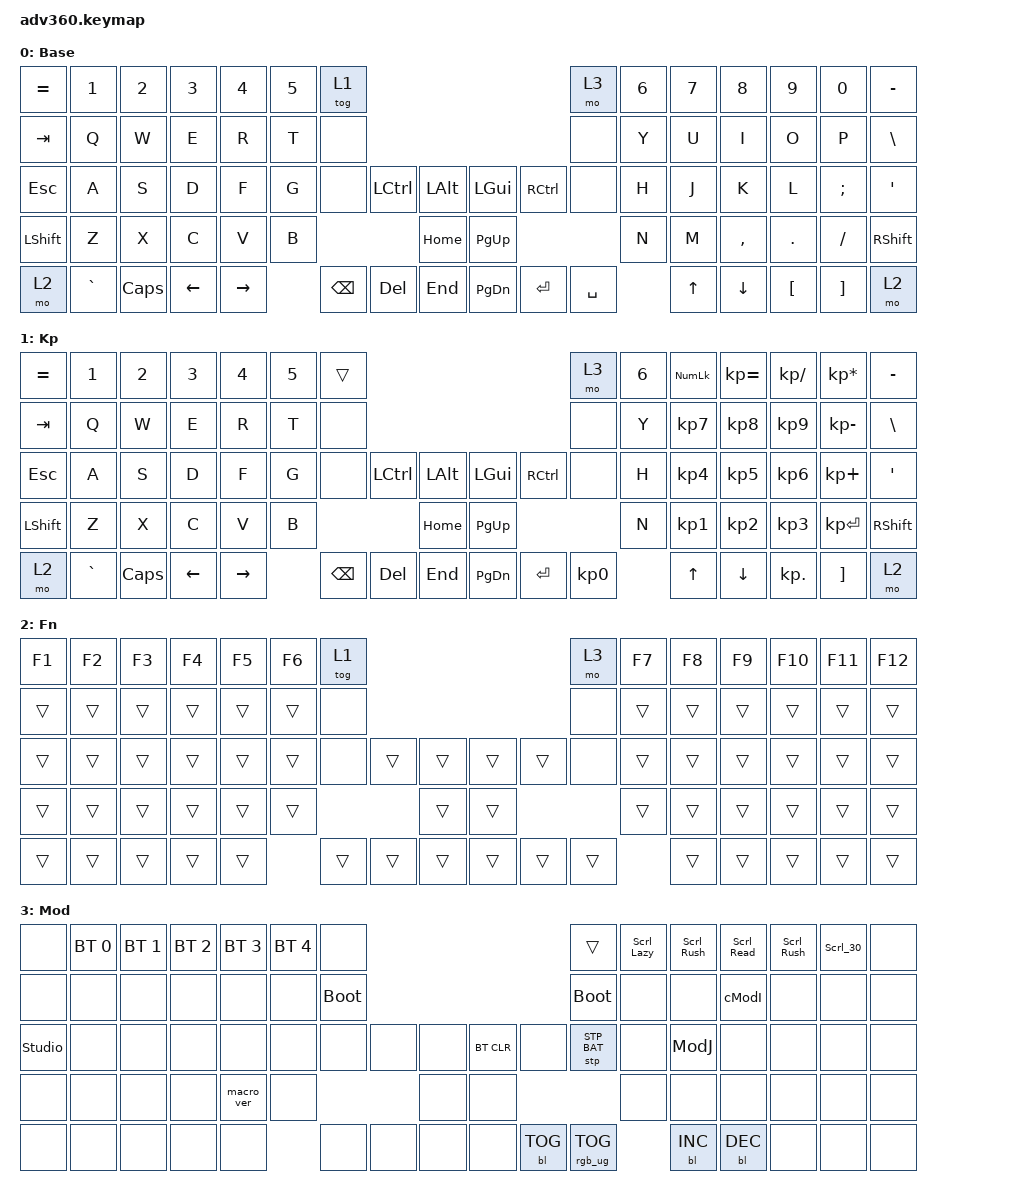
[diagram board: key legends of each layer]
#include <dt-bindings/zmk/stp.h>
#include <behaviors.dtsi>
#include <dt-bindings/zmk/backlight.h>
#include <dt-bindings/zmk/bt.h>
#include <dt-bindings/zmk/keys.h>
#include <dt-bindings/zmk/rgb.h>

/ {
    behaviors {
        #include "macros.dtsi"
      #include "version.dtsi"

        hm: homerow_mods {
            compatible = "zmk,behavior-hold-tap";
            label = "HOMEROW_MODS";
            #binding-cells = <2>;
            tapping-term-ms = <200>;
            quick_tap_ms = <175>;
            flavor = "tap-preferred";
            bindings = <&kp>, <&kp>;
        };
    };

    macros {
        cModI: ModI {
            compatible = "zmk,behavior-macro";
            #binding-cells = <0>;
            wait-ms = <40>;
            tap-ms = <40>;
            bindings =
                <&kp I &kp M &kp P &kp O &kp R &kp T &kp SPACE>,
                <&macro_wait_time 800>,
                <&kp TAB>,
                <&macro_wait_time 1200>,
                <&kp ENTER>,
                <&macro_wait_time 950>,
                <&kp ENTER>,
                <&macro_wait_time 1500>,
                <&kp D &kp E &kp F &kp SPACE>,
                <&macro_wait_time 743>,
                <&kp TAB>,
                <&macro_wait_time 891>,
                <&kp ENTER>,
                <&macro_wait_time 1100>,
                <&kp R &kp E &kp T &kp U &kp R &kp N &kp SPACE>,
                <&macro_wait_time 654>,
                <&kp LS(F) &kp A &kp L &kp S &kp E>,
                <&macro_wait_time 2000>,
                <&kp LC(TAB)>,
                <&macro_wait_time 1300>,
                <&kp DOWN>,
                <&macro_wait_time 1200>,
                <&kp DOWN>,
                <&macro_wait_time 876>,
                <&kp UP>,
                <&macro_wait_time 1543>,
                <&kp DOWN>,
                <&macro_wait_time 934>,
                <&kp LC(DOWN)>,
                <&macro_wait_time 1876>,
                <&kp UP>;
        };

        ModJ: ModJ {
            compatible = "zmk,behavior-macro";
            #binding-cells = <0>;
            wait-ms = <40>;
            tap-ms = <40>;
            bindings = <&kp I &kp M &kp P &kp O &kp R &kp T &kp LS(F) &kp A &kp L &kp S &kp E>;
            label = "MODJ";
        };

        /* Lazy drift - slow, mostly down, rare corrections. 30 keys, ~1.1 min */

        Scrl_Lazy: Scrl_Lazy {
            compatible = "zmk,behavior-macro";
            #binding-cells = <0>;
            bindings =
                <&macro_tap_time 38>,
                <&kp DOWN>,
                <&macro_wait_time 1876>,
                <&macro_tap_time 51>,
                <&kp DOWN>,
                <&macro_wait_time 2134>,
                <&macro_tap_time 29>,
                <&kp DOWN>,
                <&macro_wait_time 1654>,
                <&macro_tap_time 44>,
                <&kp DOWN>,
                <&macro_wait_time 2876>,
                <&macro_tap_time 33>,
                <&kp UP>,
                <&macro_wait_time 1432>,
                <&macro_tap_time 57>,
                <&kp DOWN>,
                <&macro_wait_time 2341>,
                <&macro_tap_time 31>,
                <&kp DOWN>,
                <&macro_wait_time 1987>,
                <&macro_tap_time 46>,
                <&kp DOWN>,
                <&macro_wait_time 2654>,
                <&macro_tap_time 62>,
                <&kp DOWN>,
                <&macro_wait_time 1543>,
                <&macro_tap_time 28>,
                <&kp DOWN>,
                <&macro_wait_time 3102>,
                <&macro_tap_time 53>,
                <&kp DOWN>,
                <&macro_wait_time 2213>,
                <&macro_tap_time 41>,
                <&kp UP>,
                <&macro_wait_time 1765>,
                <&macro_tap_time 36>,
                <&kp DOWN>,
                <&macro_wait_time 2098>,
                <&macro_tap_time 49>,
                <&kp DOWN>,
                <&macro_wait_time 1432>,
                <&macro_tap_time 27>,
                <&kp DOWN>,
                <&macro_wait_time 2987>,
                <&macro_tap_time 58>,
                <&kp DOWN>,
                <&macro_wait_time 1876>,
                <&macro_tap_time 43>,
                <&kp DOWN>,
                <&macro_wait_time 2543>,
                <&macro_tap_time 35>,
                <&kp UP>,
                <&macro_wait_time 1234>,
                <&macro_tap_time 61>,
                <&kp DOWN>,
                <&macro_wait_time 3211>,
                <&macro_tap_time 30>,
                <&kp DOWN>,
                <&macro_wait_time 1654>,
                <&macro_tap_time 48>,
                <&kp DOWN>,
                <&macro_wait_time 2109>,
                <&macro_tap_time 55>,
                <&kp DOWN>,
                <&macro_wait_time 1987>,
                <&macro_tap_time 32>,
                <&kp DOWN>,
                <&macro_wait_time 2765>,
                <&macro_tap_time 47>,
                <&kp UP>,
                <&macro_wait_time 1543>,
                <&macro_tap_time 39>,
                <&kp DOWN>,
                <&macro_wait_time 2432>,
                <&macro_tap_time 63>,
                <&kp DOWN>,
                <&macro_wait_time 1876>,
                <&macro_tap_time 26>,
                <&kp DOWN>,
                <&macro_wait_time 3087>,
                <&macro_tap_time 52>,
                <&kp DOWN>,
                <&macro_wait_time 2213>,
                <&macro_tap_time 37>,
                <&kp DOWN>,
                <&macro_wait_time 1765>,
                <&macro_tap_time 44>,
                <&kp UP>,
                <&macro_wait_time 2098>;
        };

        /* Rush - fast impatient bursts, long pauses. 30 keys, ~0.5 min */

        Scrl_Rush: Scrl_Rush {
            compatible = "zmk,behavior-macro";
            #binding-cells = <0>;
            bindings =
                <&macro_tap_time 43>,
                <&kp DOWN>,
                <&macro_wait_time 387>,
                <&macro_tap_time 31>,
                <&kp DOWN>,
                <&macro_wait_time 412>,
                <&macro_tap_time 56>,
                <&kp DOWN>,
                <&macro_wait_time 356>,
                <&macro_tap_time 28>,
                <&kp DOWN>,
                <&macro_wait_time 443>,
                <&macro_tap_time 47>,
                <&kp DOWN>,
                <&macro_wait_time 2876>,
                <&macro_tap_time 39>,
                <&kp UP>,
                <&macro_wait_time 534>,
                <&macro_tap_time 62>,
                <&kp DOWN>,
                <&macro_wait_time 398>,
                <&macro_tap_time 34>,
                <&kp DOWN>,
                <&macro_wait_time 421>,
                <&macro_tap_time 51>,
                <&kp DOWN>,
                <&macro_wait_time 367>,
                <&macro_tap_time 29>,
                <&kp DOWN>,
                <&macro_wait_time 3241>,
                <&macro_tap_time 58>,
                <&kp DOWN>,
                <&macro_wait_time 445>,
                <&macro_tap_time 41>,
                <&kp DOWN>,
                <&macro_wait_time 378>,
                <&macro_tap_time 27>,
                <&kp DOWN>,
                <&macro_wait_time 412>,
                <&macro_tap_time 53>,
                <&kp UP>,
                <&macro_wait_time 489>,
                <&macro_tap_time 36>,
                <&kp DOWN>,
                <&macro_wait_time 2654>,
                <&macro_tap_time 49>,
                <&kp DOWN>,
                <&macro_wait_time 356>,
                <&macro_tap_time 32>,
                <&kp DOWN>,
                <&macro_wait_time 423>,
                <&macro_tap_time 61>,
                <&kp DOWN>,
                <&macro_wait_time 398>,
                <&macro_tap_time 38>,
                <&kp DOWN>,
                <&macro_wait_time 3109>,
                <&macro_tap_time 44>,
                <&kp DOWN>,
                <&macro_wait_time 445>,
                <&macro_tap_time 57>,
                <&kp UP>,
                <&macro_wait_time 512>,
                <&macro_tap_time 30>,
                <&kp DOWN>,
                <&macro_wait_time 378>,
                <&macro_tap_time 46>,
                <&kp DOWN>,
                <&macro_wait_time 421>,
                <&macro_tap_time 63>,
                <&kp DOWN>,
                <&macro_wait_time 2987>,
                <&macro_tap_time 35>,
                <&kp DOWN>,
                <&macro_wait_time 356>,
                <&macro_tap_time 52>,
                <&kp DOWN>,
                <&macro_wait_time 412>,
                <&macro_tap_time 28>,
                <&kp DOWN>,
                <&macro_wait_time 443>,
                <&macro_tap_time 45>,
                <&kp UP>,
                <&macro_wait_time 398>,
                <&macro_tap_time 59>,
                <&kp DOWN>,
                <&macro_wait_time 3432>,
                <&macro_tap_time 33>,
                <&kp DOWN>,
                <&macro_wait_time 367>;
        };

        /* Reader - steady reading cadence, frequent corrections. 30 keys, ~0.5 min */

        Scrl_Read: Scrl_Read {
            compatible = "zmk,behavior-macro";
            #binding-cells = <0>;
            bindings =
                <&macro_tap_time 45>,
                <&kp DOWN>,
                <&macro_wait_time 987>,
                <&macro_tap_time 32>,
                <&kp DOWN>,
                <&macro_wait_time 1123>,
                <&macro_tap_time 58>,
                <&kp DOWN>,
                <&macro_wait_time 876>,
                <&macro_tap_time 41>,
                <&kp UP>,
                <&macro_wait_time 654>,
                <&macro_tap_time 27>,
                <&kp DOWN>,
                <&macro_wait_time 1098>,
                <&macro_tap_time 53>,
                <&kp DOWN>,
                <&macro_wait_time 934>,
                <&macro_tap_time 36>,
                <&kp DOWN>,
                <&macro_wait_time 1187>,
                <&macro_tap_time 61>,
                <&kp UP>,
                <&macro_wait_time 712>,
                <&macro_tap_time 29>,
                <&kp DOWN>,
                <&macro_wait_time 1043>,
                <&macro_tap_time 48>,
                <&kp DOWN>,
                <&macro_wait_time 876>,
                <&macro_tap_time 39>,
                <&kp DOWN>,
                <&macro_wait_time 1234>,
                <&macro_tap_time 55>,
                <&kp UP>,
                <&macro_wait_time 598>,
                <&macro_tap_time 31>,
                <&kp DOWN>,
                <&macro_wait_time 965>,
                <&macro_tap_time 44>,
                <&kp DOWN>,
                <&macro_wait_time 1109>,
                <&macro_tap_time 62>,
                <&kp DOWN>,
                <&macro_wait_time 843>,
                <&macro_tap_time 28>,
                <&kp UP>,
                <&macro_wait_time 734>,
                <&macro_tap_time 51>,
                <&kp DOWN>,
                <&macro_wait_time 1076>,
                <&macro_tap_time 37>,
                <&kp DOWN>,
                <&macro_wait_time 912>,
                <&macro_tap_time 46>,
                <&kp DOWN>,
                <&macro_wait_time 1198>,
                <&macro_tap_time 33>,
                <&kp UP>,
                <&macro_wait_time 621>,
                <&macro_tap_time 57>,
                <&kp DOWN>,
                <&macro_wait_time 1034>,
                <&macro_tap_time 26>,
                <&kp DOWN>,
                <&macro_wait_time 887>,
                <&macro_tap_time 43>,
                <&kp DOWN>,
                <&macro_wait_time 1143>,
                <&macro_tap_time 59>,
                <&kp UP>,
                <&macro_wait_time 698>,
                <&macro_tap_time 34>,
                <&kp DOWN>,
                <&macro_wait_time 976>,
                <&macro_tap_time 50>,
                <&kp DOWN>,
                <&macro_wait_time 1087>,
                <&macro_tap_time 38>,
                <&kp DOWN>,
                <&macro_wait_time 854>,
                <&macro_tap_time 47>,
                <&kp UP>,
                <&macro_wait_time 743>,
                <&macro_tap_time 30>,
                <&kp DOWN>,
                <&macro_wait_time 1012>,
                <&macro_tap_time 56>,
                <&kp DOWN>,
                <&macro_wait_time 934>;
        };

        /* Drift - distracted, very long pauses, erratic. 20 keys, ~1.4 min */

        Scrl_Drift: Scrl_Drift {
            compatible = "zmk,behavior-macro";
            #binding-cells = <0>;
            bindings =
                <&macro_tap_time 42>,
                <&kp DOWN>,
                <&macro_wait_time 4321>,
                <&macro_tap_time 31>,
                <&kp DOWN>,
                <&macro_wait_time 3876>,
                <&macro_tap_time 57>,
                <&kp UP>,
                <&macro_wait_time 5102>,
                <&macro_tap_time 28>,
                <&kp DOWN>,
                <&macro_wait_time 4654>,
                <&macro_tap_time 46>,
                <&kp DOWN>,
                <&macro_wait_time 3219>,
                <&macro_tap_time 61>,
                <&kp DOWN>,
                <&macro_wait_time 4987>,
                <&macro_tap_time 35>,
                <&kp UP>,
                <&macro_wait_time 3543>,
                <&macro_tap_time 52>,
                <&kp UP>,
                <&macro_wait_time 4876>,
                <&macro_tap_time 29>,
                <&kp DOWN>,
                <&macro_wait_time 3210>,
                <&macro_tap_time 44>,
                <&kp DOWN>,
                <&macro_wait_time 5234>,
                <&macro_tap_time 58>,
                <&kp DOWN>,
                <&macro_wait_time 4109>,
                <&macro_tap_time 33>,
                <&kp UP>,
                <&macro_wait_time 3765>,
                <&macro_tap_time 47>,
                <&kp DOWN>,
                <&macro_wait_time 4432>,
                <&macro_tap_time 26>,
                <&kp DOWN>,
                <&macro_wait_time 3987>,
                <&macro_tap_time 53>,
                <&kp DOWN>,
                <&macro_wait_time 5321>,
                <&macro_tap_time 39>,
                <&kp UP>,
                <&macro_wait_time 4123>,
                <&macro_tap_time 62>,
                <&kp DOWN>,
                <&macro_wait_time 3654>,
                <&macro_tap_time 34>,
                <&kp UP>,
                <&macro_wait_time 4876>,
                <&macro_tap_time 48>,
                <&kp DOWN>,
                <&macro_wait_time 3431>,
                <&macro_tap_time 27>,
                <&kp DOWN>,
                <&macro_wait_time 5109>;
        };

        /* 30 min session - 9 randomized cycles, ~31 min total */

        Scrl_30: Scrl_30 {
            compatible = "zmk,behavior-macro";
            #binding-cells = <0>;
            bindings =
                <&Scrl_Drift>, <&Scrl_Read>,  <&Scrl_Lazy>, <&Scrl_Rush>,
                <&Scrl_Read>,  <&Scrl_Lazy>,  <&Scrl_Drift>, <&Scrl_Rush>,
                <&Scrl_Rush>,  <&Scrl_Drift>, <&Scrl_Read>,  <&Scrl_Lazy>,
                <&Scrl_Lazy>,  <&Scrl_Read>,  <&Scrl_Rush>,  <&Scrl_Drift>,
                <&Scrl_Drift>, <&Scrl_Rush>,  <&Scrl_Lazy>,  <&Scrl_Read>,
                <&Scrl_Read>,  <&Scrl_Drift>, <&Scrl_Rush>,  <&Scrl_Lazy>,
                <&Scrl_Rush>,  <&Scrl_Lazy>,  <&Scrl_Drift>, <&Scrl_Read>,
                <&Scrl_Lazy>,  <&Scrl_Drift>, <&Scrl_Read>,  <&Scrl_Rush>,
                <&Scrl_Read>,  <&Scrl_Rush>,  <&Scrl_Drift>, <&Scrl_Lazy>,
                <&Scrl_30>;
        };
    };

    keymap {
        compatible = "zmk,keymap";

        default_layer {
            display-name = "Base";
            bindings = <
&kp EQUAL  &kp N1     &kp N2    &kp N3    &kp N4     &kp N5  &tog 1                                                   &mo 3      &kp N6  &kp N7  &kp N8     &kp N9    &kp N0    &kp MINUS
&kp TAB    &kp Q      &kp W     &kp E     &kp R      &kp T   &none                                                    &none      &kp Y   &kp U   &kp I      &kp O     &kp P     &kp BSLH
&kp ESC    &kp A      &kp S     &kp D     &kp F      &kp G   &none     &kp LCTRL  &kp LALT      &kp LGUI   &kp RCTRL  &none      &kp H   &kp J   &kp K      &kp L     &kp SEMI  &kp SQT
&kp LSHFT  &kp Z      &kp X     &kp C     &kp V      &kp B                        &kp HOME      &kp PG_UP                        &kp N   &kp M   &kp COMMA  &kp DOT   &kp FSLH  &kp RSHFT
&mo 2      &kp GRAVE  &kp CAPS  &kp LEFT  &kp RIGHT          &kp BSPC  &kp DEL    &kp END       &kp PG_DN  &kp ENTER  &kp SPACE          &kp UP  &kp DOWN   &kp LBKT  &kp RBKT  &mo 2
            >;
        };

        keypad {
            display-name = "Kp";
            bindings = <
&kp EQUAL  &kp N1     &kp N2    &kp N3    &kp N4     &kp N5  &trans                                                   &mo 3      &kp N6  &kp KP_NUM  &kp KP_EQUAL  &kp KP_DIVIDE  &kp KP_MULTIPLY  &kp MINUS
&kp TAB    &kp Q      &kp W     &kp E     &kp R      &kp T   &none                                                    &none      &kp Y   &kp KP_N7   &kp KP_N8     &kp KP_N9      &kp KP_MINUS     &kp BSLH
&kp ESC    &kp A      &kp S     &kp D     &kp F      &kp G   &none     &kp LCTRL  &kp LALT      &kp LGUI   &kp RCTRL  &none      &kp H   &kp KP_N4   &kp KP_N5     &kp KP_N6      &kp KP_PLUS      &kp SQT
&kp LSHFT  &kp Z      &kp X     &kp C     &kp V      &kp B                        &kp HOME      &kp PG_UP                        &kp N   &kp KP_N1   &kp KP_N2     &kp KP_N3      &kp KP_ENTER     &kp RSHFT
&mo 2      &kp GRAVE  &kp CAPS  &kp LEFT  &kp RIGHT          &kp BSPC  &kp DEL    &kp END       &kp PG_DN  &kp ENTER  &kp KP_N0          &kp UP      &kp DOWN      &kp KP_DOT     &kp RBKT         &mo 2
            >;
        };

        fn {
            display-name = "Fn";
            bindings = <
&kp F1  &kp F2  &kp F3  &kp F4  &kp F5  &kp F6  &tog 1                                      &mo 3   &kp F7  &kp F8  &kp F9  &kp F10  &kp F11  &kp F12
&trans  &trans  &trans  &trans  &trans  &trans  &none                                       &none   &trans  &trans  &trans  &trans   &trans   &trans
&trans  &trans  &trans  &trans  &trans  &trans  &none   &trans  &trans      &trans  &trans  &none   &trans  &trans  &trans  &trans   &trans   &trans
&trans  &trans  &trans  &trans  &trans  &trans                  &trans      &trans                  &trans  &trans  &trans  &trans   &trans   &trans
&trans  &trans  &trans  &trans  &trans          &trans  &trans  &trans      &trans  &trans  &trans          &trans  &trans  &trans   &trans   &trans
            >;
        };

        mod {
            display-name = "Mod";
            bindings = <
&none           &bt BT_SEL 0  &bt BT_SEL 1  &bt BT_SEL 2  &bt BT_SEL 3  &bt BT_SEL 4  &none                                                  &trans           &Scrl_Lazy  &Scrl_Rush  &Scrl_Read  &Scrl_Rush  &Scrl_30  &none
&none           &none         &none         &none         &none         &none         &bootloader                                            &bootloader      &none       &none       &cModI      &none       &none     &none
&studio_unlock  &none         &none         &none         &none         &none         &none        &none  &none      &bt BT_CLR  &none       &stp STP_BAT     &none       &ModJ       &none       &none       &none     &none
&none           &none         &none         &none         &macro_ver    &none                             &none      &none                                    &none       &none       &none       &none       &none     &none
&none           &none         &none         &none         &none                       &none        &none  &none      &none       &bl BL_TOG  &rgb_ug RGB_TOG              &bl BL_INC  &bl BL_DEC  &none       &none     &none
            >;
        };

        extra1 {
            display-name = "Red";
            status = "reserved";
        };

        extra2 {
            display-name = "Purple";
            status = "reserved";
        };

        extra3 {
            display-name = "Cyan";
            status = "reserved";
        };

        extra4 {
            display-name = "Yellow";
            status = "reserved";
        };
    };
};
